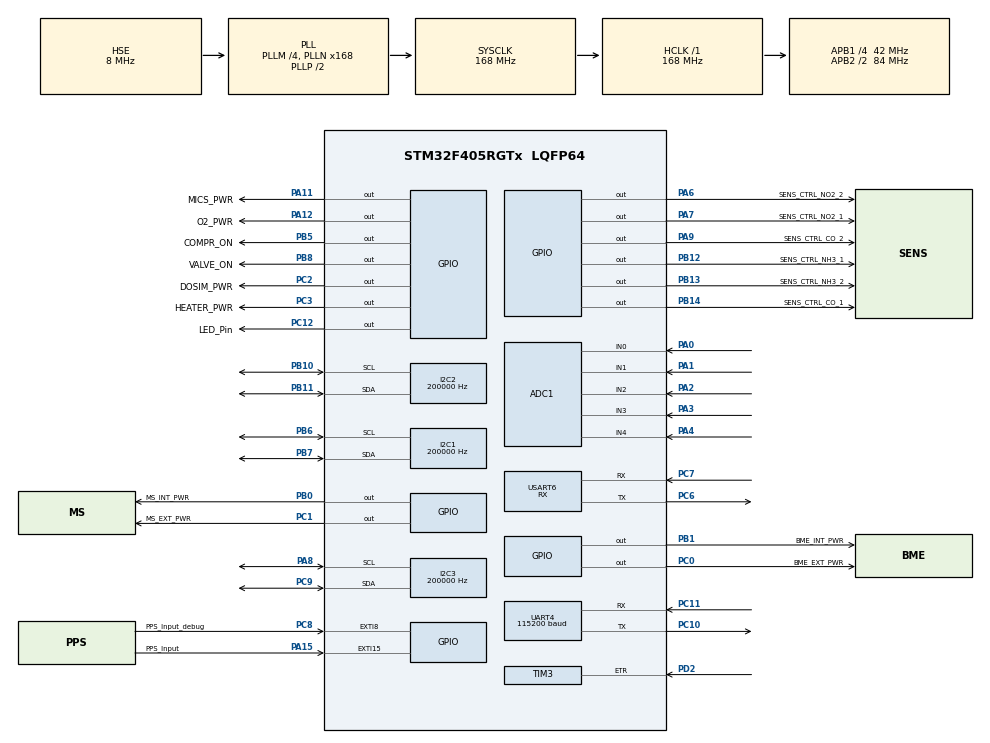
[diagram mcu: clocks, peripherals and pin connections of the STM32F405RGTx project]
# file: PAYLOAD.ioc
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PH0-OSC_IN.Signal=RCC_OSC_IN
NVIC.I2C1_EV_IRQn=true\:0\:0\:false\:false\:true\:true\:true
PC9.GPIO_PuPdOD=GPIO_NOPULL
PB10.Mode=I2C
VP_ADC1_TempSens_Input.Mode=IN-TempSens
NVIC.DMA1_Stream2_IRQn=true\:0\:0\:false\:false\:true\:false\:true
PC12.Signal=GPIO_Output
PB14.GPIO_Label=SENS_CTRL_CO_1
Dma.I2C1_TX.0.Direction=DMA_MEMORY_TO_PERIPH
Dma.I2C3_TX.2.FIFOMode=DMA_FIFOMODE_DISABLE
Dma.I2C3_RX.3.Mode=DMA_NORMAL
Dma.I2C2_RX.5.Mode=DMA_NORMAL
VP_RTC_VS_RTC_Activate.Mode=RTC_Enabled
TIM3.Slave_TriggerPolarity=TIM_TRIGGERPOLARITY_INVERTED
PA6.GPIO_Label=SENS_CTRL_NO2_2
PB13.Signal=GPIO_Output
RCC.SYSCLKSource=RCC_SYSCLKSOURCE_PLLCLK
RTC.SynchPrediv=0x7fff
PA15.GPIO_ModeDefaultEXTI=GPIO_MODE_IT_FALLING
I2C1.DutyCycle=I2C_DUTYCYCLE_2
RCC.APB2TimFreq_Value=168000000
Dma.I2C3_TX.2.Priority=DMA_PRIORITY_VERY_HIGH
PB6.Signal=I2C1_SCL
PC7.Signal=USART6_RX
PB6.Mode=I2C
PC3.Signal=GPIO_Output
VP_TIM3_VS_ControllerModeClock.Mode=Clock Mode
PC1.PinState=GPIO_PIN_SET
NVIC.EXTI15_10_IRQn=true\:0\:0\:false\:false\:true\:true\:true
Dma.I2C3_TX.2.Instance=DMA1_Stream4
PB12.GPIO_Label=SENS_CTRL_NH3_1
VP_ADC1_Vref_Input.Mode=IN-Vrefint
Dma.I2C2_TX.4.MemInc=DMA_MINC_ENABLE
PA8.GPIO_PuPdOD=GPIO_NOPULL
Dma.I2C1_TX.0.MemInc=DMA_MINC_ENABLE
PB1.GPIO_Label=BME_INT_PWR
PC9.Mode=I2C
PA8.Signal=I2C3_SCL
TIM4.Period=9999
NVIC.I2C1_ER_IRQn=true\:0\:0\:false\:false\:true\:true\:true
PB6.GPIO_PuPdOD=GPIO_NOPULL
ADC1.SamplingTime-0\#ChannelRegularConversion=ADC_SAMPLETIME_3CYCLES
Dma.I2C1_TX.0.PeriphInc=DMA_PINC_DISABLE
Mcu.Package=LQFP64
PB1.Signal=GPIO_Output
Dma.I2C2_TX.4.PeriphInc=DMA_PINC_DISABLE
PC11.Mode=Asynchronous
Dma.I2C1_TX.0.MemDataAlignment=DMA_MDATAALIGN_BYTE
RCC.APB2CLKDivider=RCC_HCLK_DIV2
RCC.APB1TimFreq_Value=84000000
Dma.I2C3_TX.2.PeriphInc=DMA_PINC_DISABLE
NVIC.DMA1_Stream6_IRQn=true\:0\:0\:false\:false\:true\:false\:true
PC0.PinState=GPIO_PIN_SET
Dma.I2C3_RX.3.Priority=DMA_PRIORITY_VERY_HIGH
ADC1.Rank-0\#ChannelRegularConversion=1
PA9.GPIO_Label=SENS_CTRL_CO_2
PB10.GPIO_PuPdOD=GPIO_NOPULL
PB11.GPIO_PuPdOD=GPIO_NOPULL
PC6.Signal=USART6_TX
PC2.Signal=GPIO_Output
PA11.GPIO_Label=MICS_PWR
PC12.GPIO_ModeDefaultOutputPP=GPIO_MODE_OUTPUT_OD
PC0.Signal=GPIO_Output
RCC.APB1CLKDivider=RCC_HCLK_DIV4
UART4.VirtualMode=Asynchronous
PA0-WKUP.Signal=ADCx_IN0
I2C2.OwnAddress=0x69
PB8.GPIO_Label=VALVE_ON
PB11.Mode=I2C
PC12.PinState=GPIO_PIN_SET
I2C1.I2C_Mode=I2C_Fast
PC6.Mode=Asynchronous
PA9.Signal=GPIO_Output
NVIC.I2C2_ER_IRQn=true\:0\:0\:false\:false\:true\:true\:true
PC7.GPIO_PuPd=GPIO_PULLUP
Dma.I2C1_RX.1.Instance=DMA1_Stream0
Dma.I2C1_RX.1.PeriphInc=DMA_PINC_DISABLE
PB10.Signal=I2C2_SCL
PB14.Signal=GPIO_Output
Dma.I2C1_RX.1.FIFOMode=DMA_FIFOMODE_DISABLE
RCC.RCC_RTC_Clock_SourceVirtual=RCC_RTCCLKSOURCE_LSE
SH.ADCx_IN4.0=ADC1_IN4,IN4
Dma.I2C3_RX.3.PeriphDataAlignment=DMA_PDATAALIGN_BYTE
Dma.I2C2_TX.4.Priority=DMA_PRIORITY_HIGH
PB7.GPIO_PuPdOD=GPIO_NOPULL
PA13.Mode=Serial_Wire
PA4.Signal=ADCx_IN4
PB5.Signal=GPIO_Output
ADC1.master=1
PC12.GPIO_Label=LED_Pin
PA11.Signal=GPIO_Output
ProjectManager.HeapSize=0x200
Dma.I2C3_RX.3.MemInc=DMA_MINC_ENABLE
Dma.I2C2_RX.5.MemDataAlignment=DMA_MDATAALIGN_BYTE
VP_TIM4_VS_ClockSourceINT.Mode=Internal
NVIC.PriorityGroup=NVIC_PRIORITYGROUP_4
Dma.I2C1_TX.0.FIFOMode=DMA_FIFOMODE_DISABLE
PC8.GPIO_ModeDefaultEXTI=GPIO_MODE_IT_FALLING
NVIC.I2C3_ER_IRQn=true\:0\:0\:false\:false\:true\:true\:true
PC3.GPIO_Label=HEATER_PWR
PA8.Mode=I2C
PD2.Signal=S_TIM3_ETR
PA11.PinState=GPIO_PIN_SET
PB0.Signal=GPIO_Output
PC1.Signal=GPIO_Output
Mcu.Family=STM32F4
Dma.I2C1_TX.0.Instance=DMA1_Stream6
RCC.CortexFreq_Value=168000000
Dma.I2C3_TX.2.MemDataAlignment=DMA_MDATAALIGN_BYTE
Dma.I2C2_TX.4.MemDataAlignment=DMA_MDATAALIGN_BYTE
Dma.I2C1_TX.0.PeriphDataAlignment=DMA_PDATAALIGN_BYTE
Dma.I2C2_RX.5.Direction=DMA_PERIPH_TO_MEMORY
SH.ADCx_IN2.0=ADC1_IN2,IN2
PC10.Signal=UART4_TX
VP_IWDG_VS_IWDG.Mode=IWDG_Activate
Dma.I2C1_RX.1.MemInc=DMA_MINC_ENABLE
PC0.GPIO_Label=BME_EXT_PWR
PB0.GPIO_Label=MS_INT_PWR
PB13.GPIO_Label=SENS_CTRL_NH3_2
PB11.Signal=I2C2_SDA
NVIC.DMA1_Stream4_IRQn=true\:0\:0\:false\:false\:true\:false\:true
USART6.Mode=MODE_RX
ProjectManager.StackSize=0x400
PC3.PinState=GPIO_PIN_RESET
Dma.I2C2_RX.5.Priority=DMA_PRIORITY_HIGH
PA15.GPIO_Label=PPS_Input
PA12.Signal=GPIO_Output
I2C1.ClockSpeed=200000
PB0.PinState=GPIO_PIN_SET
RCC.RCC_RTC_Clock_Source=RCC_RTCCLKSOURCE_LSI
UART4.BaudRate=115200
RCC.HCLKFreq_Value=168000000
SH.ADCx_IN3.0=ADC1_IN3,IN3
Dma.I2C1_RX.1.Direction=DMA_PERIPH_TO_MEMORY
Dma.I2C2_RX.5.MemInc=DMA_MINC_ENABLE
Dma.I2C1_TX.0.Priority=DMA_PRIORITY_VERY_HIGH
RCC.AHBFreq_Value=168000000
PH0-OSC_IN.Mode=HSE-External-Clock-Source
PA12.PinState=GPIO_PIN_SET
ADC1.Channel-0\#ChannelRegularConversion=ADC_CHANNEL_0
RCC.HSE_VALUE=8000000
NVIC.I2C3_EV_IRQn=true\:0\:0\:false\:false\:true\:true\:true
Dma.I2C3_RX.3.Direction=DMA_PERIPH_TO_MEMORY
PA14.Mode=Serial_Wire
RTC.AsynchPrediv=127
PB7.Signal=I2C1_SDA
Dma.I2C2_RX.5.Instance=DMA1_Stream3
SH.ADCx_IN0.0=ADC1_IN0,IN0
Dma.I2C1_RX.1.Mode=DMA_NORMAL
Dma.I2C3_TX.2.PeriphDataAlignment=DMA_PDATAALIGN_BYTE
NVIC.DMA1_Stream7_IRQn=true\:0\:0\:false\:false\:true\:false\:true
PB1.PinState=GPIO_PIN_SET
PH1-OSC_OUT.Mode=HSE-External-Clock-Source
PA6.Signal=GPIO_Output
Dma.I2C2_RX.5.FIFOMode=DMA_FIFOMODE_DISABLE
USART6.VirtualMode=VM_ASYNC
RCC.EnbaleCSS=true
IWDG.Reload=0xfff
PA15.Signal=GPXTI15
SH.ADCx_IN1.0=ADC1_IN1,IN1
PB5.GPIO_Label=COMPR_ON
Dma.I2C2_RX.5.PeriphDataAlignment=DMA_PDATAALIGN_BYTE
Dma.Request2=I2C3_TX
Dma.Request1=I2C1_RX
Dma.Request4=I2C2_TX
Dma.Request3=I2C3_RX
Dma.Request5=I2C2_RX
NVIC.DMA1_Stream0_IRQn=true\:0\:0\:false\:false\:true\:false\:true
Dma.I2C1_TX.0.Mode=DMA_NORMAL
Dma.Request0=I2C1_TX
UART4.OverSampling=UART_OVERSAMPLING_8
I2C2.I2C_Mode=I2C_Fast
PC2.GPIO_Label=DOSIM_PWR
PA3.Signal=ADCx_IN3
Dma.I2C3_TX.2.Mode=DMA_NORMAL
RCC.PLLSourceVirtual=RCC_PLLSOURCE_HSE
Dma.I2C3_RX.3.FIFOMode=DMA_FIFOMODE_DISABLE
I2C3.I2C_Mode=I2C_Fast
Dma.I2C2_TX.4.PeriphDataAlignment=DMA_PDATAALIGN_BYTE
PC11.Signal=UART4_RX
PC8.Signal=GPXTI8
I2C3.ClockSpeed=200000
PC10.Mode=Asynchronous
PA12.GPIO_Label=O2_PWR
NVIC.USART6_IRQn=true\:0\:0\:false\:false\:true\:true\:false
PC8.GPIO_Label=PPS_Input_debug
PA13.Signal=SYS_JTMS-SWDIO
Dma.I2C3_RX.3.PeriphInc=DMA_PINC_DISABLE
ProjectManager.TargetToolchain=STM32CubeIDE
Dma.I2C3_RX.3.Instance=DMA1_Stream2
Dma.I2C2_RX.5.PeriphInc=DMA_PINC_DISABLE
TIM4.Prescaler=8399
RCC.LSE_VALUE=32768
PA1.Signal=ADCx_IN1
board=custom
Dma.I2C1_RX.1.PeriphDataAlignment=DMA_PDATAALIGN_BYTE
RCC.VCOOutputFreq_Value=336000000
Dma.I2C1_RX.1.Priority=DMA_PRIORITY_VERY_HIGH
RCC.APB2Freq_Value=84000000
Dma.I2C3_TX.2.MemInc=DMA_MINC_ENABLE
TIM4.ClockDivision=TIM_CLOCKDIVISION_DIV1
Dma.I2C2_TX.4.FIFOMode=DMA_FIFOMODE_DISABLE
I2C2.ClockSpeed=200000
PC1.GPIO_Label=MS_EXT_PWR
PH1-OSC_OUT.Signal=RCC_OSC_OUT
Dma.I2C1_RX.1.MemDataAlignment=DMA_MDATAALIGN_BYTE
Dma.I2C2_TX.4.Direction=DMA_MEMORY_TO_PERIPH
Mcu.Name=STM32F405RGTx
SH.S_TIM3_ETR.0=TIM3_ETR,TriggerSource_ETR
PA2.Signal=ADCx_IN2
RCC.48MHZClocksFreq_Value=84000000
RCC.SYSCLKFreq_VALUE=168000000
PA7.GPIO_Label=SENS_CTRL_NO2_1
PC2.PinState=GPIO_PIN_SET
Dma.I2C2_TX.4.Instance=DMA1_Stream7
PB7.Mode=I2C
NVIC.EXTI9_5_IRQn=true\:0\:0\:false\:false\:true\:true\:true
PA14.Signal=SYS_JTCK-SWCLK
NVIC.I2C2_EV_IRQn=true\:0\:0\:false\:false\:true\:true\:true
RCC.HSI_VALUE=16000000
Dma.I2C3_RX.3.MemDataAlignment=DMA_MDATAALIGN_BYTE
ADC1.NbrOfConversionFlag=1
RCC.PLLM=4
RCC.PLLN=168
PA15.GPIO_PuPd=GPIO_NOPULL
Dma.I2C3_TX.2.Direction=DMA_MEMORY_TO_PERIPH
IWDG.Prescaler=IWDG_PRESCALER_128
PB8.Signal=GPIO_Output
NVIC.DMA1_Stream3_IRQn=true\:0\:0\:false\:false\:true\:false\:true
PC9.Signal=I2C3_SDA
PC7.Mode=Asynchronous
NVIC.TIM4_IRQn=true\:0\:0\:false\:false\:true\:true\:false
RCC.APB1Freq_Value=42000000
PC12.GPIO_Speed=GPIO_SPEED_FREQ_LOW
ADC1.ClockPrescaler=ADC_CLOCK_SYNC_PCLK_DIV6
PB12.Signal=GPIO_Output
PA7.Signal=GPIO_Output
Dma.I2C2_TX.4.Mode=DMA_NORMAL

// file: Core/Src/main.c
/* USER CODE BEGIN Header */
/**
  ******************************************************************************
  * @file           : main.c
  * @brief          : Main program body
  ******************************************************************************
  * @attention
  *
  * <h2><center>&copy; Copyright (c) 2021 STMicroelectronics.
  * All rights reserved.</center></h2>
  *
  * This software component is licensed by ST under BSD 3-Clause license,
  * the "License"; You may not use this file except in compliance with the
  * License. You may obtain a copy of the License at:
  *                        opensource.org/licenses/BSD-3-Clause
  *
  ******************************************************************************
  */
/* USER CODE END Header */
#include "main.h"

/* USER CODE BEGIN Includes */
#include "app_main.h"
#include "osc_config.h"
/* USER CODE END Includes */

ADC_HandleTypeDef hadc1;

I2C_HandleTypeDef hi2c1;
I2C_HandleTypeDef hi2c3;
DMA_HandleTypeDef hdma_i2c1_tx;
DMA_HandleTypeDef hdma_i2c1_rx;
DMA_HandleTypeDef hdma_i2c3_tx;
DMA_HandleTypeDef hdma_i2c3_rx;

IWDG_HandleTypeDef hiwdg;

TIM_HandleTypeDef htim3;
TIM_HandleTypeDef htim4;

UART_HandleTypeDef huart4;
UART_HandleTypeDef huart6;

void SystemClock_Config(void);
static void MX_GPIO_Init(void);
static void MX_DMA_Init(void);
static void MX_I2C1_Init(void);
static void MX_ADC1_Init(void);
static void MX_I2C2_Init(void);
static void MX_TIM3_Init(void);
static void MX_UART4_Init(void);
static void MX_I2C3_Init(void);
static void MX_IWDG_Init(void);
static void MX_RTC_Init(void);
static void MX_TIM4_Init(void);
static void MX_USART6_UART_Init(void);

int main(void)
{

  /* MCU Configuration--------------------------------------------------------*/

  /* Reset of all peripherals, Initializes the Flash interface and the Systick. */
  HAL_Init();

  /* USER CODE BEGIN Init */

    int error = HSE_SystemClock_Config();
    if (1 == error)
    {
  	  error = 0;
  	  error = HSI_SystemClock_Config();
  	  if (1 == error)
  		  HAL_NVIC_SystemReset();
    }

#ifdef CUBE_CLOCK_CONFIG
  /* USER CODE END Init */

  /* Configure the system clock */
  SystemClock_Config();

  /* USER CODE BEGIN SysInit */
#endif
  /* USER CODE END SysInit */

  /* Initialize all configured peripherals */
  MX_GPIO_Init();
  MX_DMA_Init();
  MX_I2C1_Init();
  MX_ADC1_Init();
  MX_I2C2_Init();
  MX_TIM3_Init();
  MX_UART4_Init();
  MX_I2C3_Init();
  MX_IWDG_Init();
  MX_RTC_Init();
  MX_TIM4_Init();
  MX_USART6_UART_Init();
  /* USER CODE BEGIN 2 */

  app_main();

  /* USER CODE END 2 */

  /* Infinite loop */
  while (1)
  {

  }
}

void SystemClock_Config(void)
{
  RCC_OscInitTypeDef RCC_OscInitStruct = {0};
  RCC_ClkInitTypeDef RCC_ClkInitStruct = {0};
  RCC_PeriphCLKInitTypeDef PeriphClkInitStruct = {0};

  /** Configure the main internal regulator output voltage
  */
  __HAL_RCC_PWR_CLK_ENABLE();
  __HAL_PWR_VOLTAGESCALING_CONFIG(PWR_REGULATOR_VOLTAGE_SCALE1);
  /** Initializes the RCC Oscillators according to the specified parameters
  * in the RCC_OscInitTypeDef structure.
  */
  RCC_OscInitStruct.OscillatorType = RCC_OSCILLATORTYPE_LSI|RCC_OSCILLATORTYPE_HSE;
  RCC_OscInitStruct.HSEState = RCC_HSE_BYPASS;
  RCC_OscInitStruct.LSIState = RCC_LSI_ON;
  RCC_OscInitStruct.PLL.PLLState = RCC_PLL_ON;
  RCC_OscInitStruct.PLL.PLLSource = RCC_PLLSOURCE_HSE;
  RCC_OscInitStruct.PLL.PLLM = 4;
  RCC_OscInitStruct.PLL.PLLN = 168;
  RCC_OscInitStruct.PLL.PLLP = RCC_PLLP_DIV2;
  RCC_OscInitStruct.PLL.PLLQ = 4;
  if (HAL_RCC_OscConfig(&RCC_OscInitStruct) != HAL_OK)
  {
    Error_Handler();
  }
  /** Initializes the CPU, AHB and APB buses clocks
  */
  RCC_ClkInitStruct.ClockType = RCC_CLOCKTYPE_HCLK|RCC_CLOCKTYPE_SYSCLK
                              |RCC_CLOCKTYPE_PCLK1|RCC_CLOCKTYPE_PCLK2;
  RCC_ClkInitStruct.SYSCLKSource = RCC_SYSCLKSOURCE_PLLCLK;
  RCC_ClkInitStruct.AHBCLKDivider = RCC_SYSCLK_DIV1;
  RCC_ClkInitStruct.APB1CLKDivider = RCC_HCLK_DIV4;
  RCC_ClkInitStruct.APB2CLKDivider = RCC_HCLK_DIV2;

  if (HAL_RCC_ClockConfig(&RCC_ClkInitStruct, FLASH_LATENCY_5) != HAL_OK)
  {
    Error_Handler();
  }
  PeriphClkInitStruct.PeriphClockSelection = RCC_PERIPHCLK_RTC;
  PeriphClkInitStruct.RTCClockSelection = RCC_RTCCLKSOURCE_LSI;
  if (HAL_RCCEx_PeriphCLKConfig(&PeriphClkInitStruct) != HAL_OK)
  {
    Error_Handler();
  }
  /** Enables the Clock Security System
  */
  HAL_RCC_EnableCSS();
}

static void MX_ADC1_Init(void)
{

  ADC_ChannelConfTypeDef sConfig = {0};

  /** Configure the global features of the ADC (Clock, Resolution, Data Alignment and number of conversion)
  */
  hadc1.Instance = ADC1;
  hadc1.Init.ClockPrescaler = ADC_CLOCK_SYNC_PCLK_DIV6;
  hadc1.Init.Resolution = ADC_RESOLUTION_12B;
  hadc1.Init.ScanConvMode = DISABLE;
  hadc1.Init.ContinuousConvMode = DISABLE;
  hadc1.Init.DiscontinuousConvMode = DISABLE;
  hadc1.Init.ExternalTrigConvEdge = ADC_EXTERNALTRIGCONVEDGE_NONE;
  hadc1.Init.ExternalTrigConv = ADC_SOFTWARE_START;
  hadc1.Init.DataAlign = ADC_DATAALIGN_RIGHT;
  hadc1.Init.NbrOfConversion = 1;
  hadc1.Init.DMAContinuousRequests = DISABLE;
  hadc1.Init.EOCSelection = ADC_EOC_SINGLE_CONV;
  if (HAL_ADC_Init(&hadc1) != HAL_OK)
  {
    Error_Handler();
  }
  /** Configure for the selected ADC regular channel its corresponding rank in the sequencer and its sample time.
  */
  sConfig.Channel = ADC_CHANNEL_0;
  sConfig.Rank = 1;
  sConfig.SamplingTime = ADC_SAMPLETIME_3CYCLES;
  if (HAL_ADC_ConfigChannel(&hadc1, &sConfig) != HAL_OK)
  {
    Error_Handler();
  }

}

static void MX_I2C1_Init(void)
{

  hi2c1.Instance = I2C1;
  hi2c1.Init.ClockSpeed = 200000;
  hi2c1.Init.DutyCycle = I2C_DUTYCYCLE_2;
  hi2c1.Init.OwnAddress1 = 0;
  hi2c1.Init.AddressingMode = I2C_ADDRESSINGMODE_7BIT;
  hi2c1.Init.DualAddressMode = I2C_DUALADDRESS_DISABLE;
  hi2c1.Init.OwnAddress2 = 0;
  hi2c1.Init.GeneralCallMode = I2C_GENERALCALL_DISABLE;
  hi2c1.Init.NoStretchMode = I2C_NOSTRETCH_DISABLE;
  if (HAL_I2C_Init(&hi2c1) != HAL_OK)
  {
    Error_Handler();
  }

}

static void MX_I2C2_Init(void)
{

  LL_I2C_InitTypeDef I2C_InitStruct = {0};

  LL_GPIO_InitTypeDef GPIO_InitStruct = {0};

  LL_AHB1_GRP1_EnableClock(LL_AHB1_GRP1_PERIPH_GPIOB);
  /**I2C2 GPIO Configuration
  PB10   ------> I2C2_SCL
  PB11   ------> I2C2_SDA
  */
  GPIO_InitStruct.Pin = LL_GPIO_PIN_10|LL_GPIO_PIN_11;
  GPIO_InitStruct.Mode = LL_GPIO_MODE_ALTERNATE;
  GPIO_InitStruct.Speed = LL_GPIO_SPEED_FREQ_VERY_HIGH;
  GPIO_InitStruct.OutputType = LL_GPIO_OUTPUT_OPENDRAIN;
  GPIO_InitStruct.Pull = LL_GPIO_PULL_NO;
  GPIO_InitStruct.Alternate = LL_GPIO_AF_4;
  LL_GPIO_Init(GPIOB, &GPIO_InitStruct);

  /* Peripheral clock enable */
  LL_APB1_GRP1_EnableClock(LL_APB1_GRP1_PERIPH_I2C2);

  /* I2C2 DMA Init */

  /* I2C2_TX Init */
  LL_DMA_SetChannelSelection(DMA1, LL_DMA_STREAM_7, LL_DMA_CHANNEL_7);

  LL_DMA_SetDataTransferDirection(DMA1, LL_DMA_STREAM_7, LL_DMA_DIRECTION_MEMORY_TO_PERIPH);

  LL_DMA_SetStreamPriorityLevel(DMA1, LL_DMA_STREAM_7, LL_DMA_PRIORITY_HIGH);

  LL_DMA_SetMode(DMA1, LL_DMA_STREAM_7, LL_DMA_MODE_NORMAL);

  LL_DMA_SetPeriphIncMode(DMA1, LL_DMA_STREAM_7, LL_DMA_PERIPH_NOINCREMENT);

  LL_DMA_SetMemoryIncMode(DMA1, LL_DMA_STREAM_7, LL_DMA_MEMORY_INCREMENT);

  LL_DMA_SetPeriphSize(DMA1, LL_DMA_STREAM_7, LL_DMA_PDATAALIGN_BYTE);

  LL_DMA_SetMemorySize(DMA1, LL_DMA_STREAM_7, LL_DMA_MDATAALIGN_BYTE);

  LL_DMA_DisableFifoMode(DMA1, LL_DMA_STREAM_7);

  /* I2C2_RX Init */
  LL_DMA_SetChannelSelection(DMA1, LL_DMA_STREAM_3, LL_DMA_CHANNEL_7);

  LL_DMA_SetDataTransferDirection(DMA1, LL_DMA_STREAM_3, LL_DMA_DIRECTION_PERIPH_TO_MEMORY);

  LL_DMA_SetStreamPriorityLevel(DMA1, LL_DMA_STREAM_3, LL_DMA_PRIORITY_HIGH);

  LL_DMA_SetMode(DMA1, LL_DMA_STREAM_3, LL_DMA_MODE_NORMAL);

  LL_DMA_SetPeriphIncMode(DMA1, LL_DMA_STREAM_3, LL_DMA_PERIPH_NOINCREMENT);

  LL_DMA_SetMemoryIncMode(DMA1, LL_DMA_STREAM_3, LL_DMA_MEMORY_INCREMENT);

  LL_DMA_SetPeriphSize(DMA1, LL_DMA_STREAM_3, LL_DMA_PDATAALIGN_BYTE);

  LL_DMA_SetMemorySize(DMA1, LL_DMA_STREAM_3, LL_DMA_MDATAALIGN_BYTE);

  LL_DMA_DisableFifoMode(DMA1, LL_DMA_STREAM_3);

  /* I2C2 interrupt Init */
  NVIC_SetPriority(I2C2_EV_IRQn, NVIC_EncodePriority(NVIC_GetPriorityGrouping(),0, 0));
  NVIC_EnableIRQ(I2C2_EV_IRQn);
  NVIC_SetPriority(I2C2_ER_IRQn, NVIC_EncodePriority(NVIC_GetPriorityGrouping(),0, 0));
  NVIC_EnableIRQ(I2C2_ER_IRQn);

  /** I2C Initialization
  */
  LL_I2C_DisableOwnAddress2(I2C2);
  LL_I2C_DisableGeneralCall(I2C2);
  LL_I2C_EnableClockStretching(I2C2);
  I2C_InitStruct.PeripheralMode = LL_I2C_MODE_I2C;
  I2C_InitStruct.ClockSpeed = 200000;
  I2C_InitStruct.DutyCycle = LL_I2C_DUTYCYCLE_2;
  I2C_InitStruct.OwnAddress1 = 210;
  I2C_InitStruct.TypeAcknowledge = LL_I2C_ACK;
  I2C_InitStruct.OwnAddrSize = LL_I2C_OWNADDRESS1_7BIT;
  LL_I2C_Init(I2C2, &I2C_InitStruct);
  LL_I2C_SetOwnAddress2(I2C2, 0);

}

static void MX_I2C3_Init(void)
{

  hi2c3.Instance = I2C3;
  hi2c3.Init.ClockSpeed = 200000;
  hi2c3.Init.DutyCycle = I2C_DUTYCYCLE_2;
  hi2c3.Init.OwnAddress1 = 0;
  hi2c3.Init.AddressingMode = I2C_ADDRESSINGMODE_7BIT;
  hi2c3.Init.DualAddressMode = I2C_DUALADDRESS_DISABLE;
  hi2c3.Init.OwnAddress2 = 0;
  hi2c3.Init.GeneralCallMode = I2C_GENERALCALL_DISABLE;
  hi2c3.Init.NoStretchMode = I2C_NOSTRETCH_DISABLE;
  if (HAL_I2C_Init(&hi2c3) != HAL_OK)
  {
    Error_Handler();
  }

}

static void MX_IWDG_Init(void)
{

  /* USER CODE BEGIN IWDG_Init 1 */
#ifdef DEBUG
  return;
#endif
  /* USER CODE END IWDG_Init 1 */
  hiwdg.Instance = IWDG;
  hiwdg.Init.Prescaler = IWDG_PRESCALER_128;
  hiwdg.Init.Reload = 0xfff;
  if (HAL_IWDG_Init(&hiwdg) != HAL_OK)
  {
    Error_Handler();
  }

}

static void MX_RTC_Init(void)
{

  LL_RTC_InitTypeDef RTC_InitStruct = {0};

  /* Peripheral clock enable */
  LL_RCC_EnableRTC();

  /** Initialize RTC and set the Time and Date
  */
  RTC_InitStruct.HourFormat = LL_RTC_HOURFORMAT_24HOUR;
  RTC_InitStruct.AsynchPrescaler = 127;
  RTC_InitStruct.SynchPrescaler = 0x7fff;
  LL_RTC_Init(RTC, &RTC_InitStruct);
  LL_RTC_SetAsynchPrescaler(RTC, 127);
  LL_RTC_SetSynchPrescaler(RTC, 0x7fff);

}

static void MX_TIM3_Init(void)
{

  TIM_SlaveConfigTypeDef sSlaveConfig = {0};
  TIM_MasterConfigTypeDef sMasterConfig = {0};

  htim3.Instance = TIM3;
  htim3.Init.Prescaler = 0;
  htim3.Init.CounterMode = TIM_COUNTERMODE_UP;
  htim3.Init.Period = 65535;
  htim3.Init.ClockDivision = TIM_CLOCKDIVISION_DIV1;
  htim3.Init.AutoReloadPreload = TIM_AUTORELOAD_PRELOAD_DISABLE;
  if (HAL_TIM_Base_Init(&htim3) != HAL_OK)
  {
    Error_Handler();
  }
  sSlaveConfig.SlaveMode = TIM_SLAVEMODE_EXTERNAL1;
  sSlaveConfig.InputTrigger = TIM_TS_ETRF;
  sSlaveConfig.TriggerPolarity = TIM_TRIGGERPOLARITY_INVERTED;
  sSlaveConfig.TriggerPrescaler = TIM_TRIGGERPRESCALER_DIV1;
  sSlaveConfig.TriggerFilter = 0;
  if (HAL_TIM_SlaveConfigSynchro(&htim3, &sSlaveConfig) != HAL_OK)
  {
    Error_Handler();
  }
  sMasterConfig.MasterOutputTrigger = TIM_TRGO_RESET;
  sMasterConfig.MasterSlaveMode = TIM_MASTERSLAVEMODE_DISABLE;
  if (HAL_TIMEx_MasterConfigSynchronization(&htim3, &sMasterConfig) != HAL_OK)
  {
    Error_Handler();
  }

}

static void MX_TIM4_Init(void)
{

  TIM_ClockConfigTypeDef sClockSourceConfig = {0};
  TIM_MasterConfigTypeDef sMasterConfig = {0};

  htim4.Instance = TIM4;
  htim4.Init.Prescaler = 8399;
  htim4.Init.CounterMode = TIM_COUNTERMODE_UP;
  htim4.Init.Period = 9999;
  htim4.Init.ClockDivision = TIM_CLOCKDIVISION_DIV1;
  htim4.Init.AutoReloadPreload = TIM_AUTORELOAD_PRELOAD_DISABLE;
  if (HAL_TIM_Base_Init(&htim4) != HAL_OK)
  {
    Error_Handler();
  }
  sClockSourceConfig.ClockSource = TIM_CLOCKSOURCE_INTERNAL;
  if (HAL_TIM_ConfigClockSource(&htim4, &sClockSourceConfig) != HAL_OK)
  {
    Error_Handler();
  }
  sMasterConfig.MasterOutputTrigger = TIM_TRGO_RESET;
  sMasterConfig.MasterSlaveMode = TIM_MASTERSLAVEMODE_DISABLE;
  if (HAL_TIMEx_MasterConfigSynchronization(&htim4, &sMasterConfig) != HAL_OK)
  {
    Error_Handler();
  }

}

static void MX_UART4_Init(void)
{

  huart4.Instance = UART4;
  huart4.Init.BaudRate = 115200;
  huart4.Init.WordLength = UART_WORDLENGTH_8B;
  huart4.Init.StopBits = UART_STOPBITS_1;
  huart4.Init.Parity = UART_PARITY_NONE;
  huart4.Init.Mode = UART_MODE_TX_RX;
  huart4.Init.HwFlowCtl = UART_HWCONTROL_NONE;
  huart4.Init.OverSampling = UART_OVERSAMPLING_8;
  if (HAL_UART_Init(&huart4) != HAL_OK)
  {
    Error_Handler();
  }
  /* USER CODE BEGIN UART4_Init 2 */
  // Включаем только это прерывание
  __HAL_UART_ENABLE_IT(&huart4, UART_IT_RXNE);
  /* USER CODE END UART4_Init 2 */

}

static void MX_USART6_UART_Init(void)
{

  huart6.Instance = USART6;
  huart6.Init.BaudRate = 115200;
  huart6.Init.WordLength = UART_WORDLENGTH_8B;
  huart6.Init.StopBits = UART_STOPBITS_1;
  huart6.Init.Parity = UART_PARITY_NONE;
  huart6.Init.Mode = UART_MODE_RX;
  huart6.Init.HwFlowCtl = UART_HWCONTROL_NONE;
  huart6.Init.OverSampling = UART_OVERSAMPLING_16;
  if (HAL_UART_Init(&huart6) != HAL_OK)
  {
    Error_Handler();
  }

}

static void MX_DMA_Init(void)
{

  /* DMA controller clock enable */
  __HAL_RCC_DMA1_CLK_ENABLE();

  /* DMA interrupt init */
  /* DMA1_Stream0_IRQn interrupt configuration */
  HAL_NVIC_SetPriority(DMA1_Stream0_IRQn, 0, 0);
  HAL_NVIC_EnableIRQ(DMA1_Stream0_IRQn);
  /* DMA1_Stream2_IRQn interrupt configuration */
  HAL_NVIC_SetPriority(DMA1_Stream2_IRQn, 0, 0);
  HAL_NVIC_EnableIRQ(DMA1_Stream2_IRQn);
  /* DMA1_Stream3_IRQn interrupt configuration */
  NVIC_SetPriority(DMA1_Stream3_IRQn, NVIC_EncodePriority(NVIC_GetPriorityGrouping(),0, 0));
  NVIC_EnableIRQ(DMA1_Stream3_IRQn);
  /* DMA1_Stream4_IRQn interrupt configuration */
  HAL_NVIC_SetPriority(DMA1_Stream4_IRQn, 0, 0);
  HAL_NVIC_EnableIRQ(DMA1_Stream4_IRQn);
  /* DMA1_Stream6_IRQn interrupt configuration */
  HAL_NVIC_SetPriority(DMA1_Stream6_IRQn, 0, 0);
  HAL_NVIC_EnableIRQ(DMA1_Stream6_IRQn);
  /* DMA1_Stream7_IRQn interrupt configuration */
  NVIC_SetPriority(DMA1_Stream7_IRQn, NVIC_EncodePriority(NVIC_GetPriorityGrouping(),0, 0));
  NVIC_EnableIRQ(DMA1_Stream7_IRQn);

}

static void MX_GPIO_Init(void)
{
  GPIO_InitTypeDef GPIO_InitStruct = {0};

  /* GPIO Ports Clock Enable */
  __HAL_RCC_GPIOH_CLK_ENABLE();
  __HAL_RCC_GPIOC_CLK_ENABLE();
  __HAL_RCC_GPIOA_CLK_ENABLE();
  __HAL_RCC_GPIOB_CLK_ENABLE();
  __HAL_RCC_GPIOD_CLK_ENABLE();

  /*Configure GPIO pin Output Level */
  HAL_GPIO_WritePin(GPIOC, BME_EXT_PWR_Pin|MS_EXT_PWR_Pin|DOSIM_PWR_Pin|LED_Pin_Pin, GPIO_PIN_SET);

  /*Configure GPIO pin Output Level */
  HAL_GPIO_WritePin(HEATER_PWR_GPIO_Port, HEATER_PWR_Pin, GPIO_PIN_RESET);

  /*Configure GPIO pin Output Level */
  HAL_GPIO_WritePin(GPIOA, SENS_CTRL_NO2_2_Pin|SENS_CTRL_NO2_1_Pin|SENS_CTRL_CO_2_Pin, GPIO_PIN_RESET);

  /*Configure GPIO pin Output Level */
  HAL_GPIO_WritePin(GPIOB, MS_INT_PWR_Pin|BME_INT_PWR_Pin, GPIO_PIN_SET);

  /*Configure GPIO pin Output Level */
  HAL_GPIO_WritePin(GPIOB, SENS_CTRL_NH3_1_Pin|SENS_CTRL_NH3_2_Pin|SENS_CTRL_CO_1_Pin|COMPR_ON_Pin
                          |VALVE_ON_Pin, GPIO_PIN_RESET);

  /*Configure GPIO pin Output Level */
  HAL_GPIO_WritePin(GPIOA, MICS_PWR_Pin|O2_PWR_Pin, GPIO_PIN_SET);

  /*Configure GPIO pins : BME_EXT_PWR_Pin MS_EXT_PWR_Pin DOSIM_PWR_Pin HEATER_PWR_Pin */
  GPIO_InitStruct.Pin = BME_EXT_PWR_Pin|MS_EXT_PWR_Pin|DOSIM_PWR_Pin|HEATER_PWR_Pin;
  GPIO_InitStruct.Mode = GPIO_MODE_OUTPUT_PP;
  GPIO_InitStruct.Pull = GPIO_NOPULL;
  GPIO_InitStruct.Speed = GPIO_SPEED_FREQ_LOW;
  HAL_GPIO_Init(GPIOC, &GPIO_InitStruct);

  /*Configure GPIO pins : SENS_CTRL_NO2_2_Pin SENS_CTRL_NO2_1_Pin SENS_CTRL_CO_2_Pin MICS_PWR_Pin
                           O2_PWR_Pin */
  GPIO_InitStruct.Pin = SENS_CTRL_NO2_2_Pin|SENS_CTRL_NO2_1_Pin|SENS_CTRL_CO_2_Pin|MICS_PWR_Pin
                          |O2_PWR_Pin;
  GPIO_InitStruct.Mode = GPIO_MODE_OUTPUT_PP;
  GPIO_InitStruct.Pull = GPIO_NOPULL;
  GPIO_InitStruct.Speed = GPIO_SPEED_FREQ_LOW;
  HAL_GPIO_Init(GPIOA, &GPIO_InitStruct);

  /*Configure GPIO pins : MS_INT_PWR_Pin BME_INT_PWR_Pin SENS_CTRL_NH3_1_Pin SENS_CTRL_NH3_2_Pin
                           SENS_CTRL_CO_1_Pin COMPR_ON_Pin VALVE_ON_Pin */
  GPIO_InitStruct.Pin = MS_INT_PWR_Pin|BME_INT_PWR_Pin|SENS_CTRL_NH3_1_Pin|SENS_CTRL_NH3_2_Pin
                          |SENS_CTRL_CO_1_Pin|COMPR_ON_Pin|VALVE_ON_Pin;
  GPIO_InitStruct.Mode = GPIO_MODE_OUTPUT_PP;
  GPIO_InitStruct.Pull = GPIO_NOPULL;
  GPIO_InitStruct.Speed = GPIO_SPEED_FREQ_LOW;
  HAL_GPIO_Init(GPIOB, &GPIO_InitStruct);

  /*Configure GPIO pin : PPS_Input_debug_Pin */
  GPIO_InitStruct.Pin = PPS_Input_debug_Pin;
  GPIO_InitStruct.Mode = GPIO_MODE_IT_FALLING;
  GPIO_InitStruct.Pull = GPIO_NOPULL;
  HAL_GPIO_Init(PPS_Input_debug_GPIO_Port, &GPIO_InitStruct);

  /*Configure GPIO pin : PPS_Input_Pin */
  GPIO_InitStruct.Pin = PPS_Input_Pin;
  GPIO_InitStruct.Mode = GPIO_MODE_IT_FALLING;
  GPIO_InitStruct.Pull = GPIO_NOPULL;
  HAL_GPIO_Init(PPS_Input_GPIO_Port, &GPIO_InitStruct);

  /*Configure GPIO pin : LED_Pin_Pin */
  GPIO_InitStruct.Pin = LED_Pin_Pin;
  GPIO_InitStruct.Mode = GPIO_MODE_OUTPUT_OD;
  GPIO_InitStruct.Pull = GPIO_NOPULL;
  GPIO_InitStruct.Speed = GPIO_SPEED_FREQ_LOW;
  HAL_GPIO_Init(LED_Pin_GPIO_Port, &GPIO_InitStruct);

  /* EXTI interrupt init*/
  HAL_NVIC_SetPriority(EXTI9_5_IRQn, 0, 0);
  HAL_NVIC_EnableIRQ(EXTI9_5_IRQn);

  HAL_NVIC_SetPriority(EXTI15_10_IRQn, 0, 0);
  HAL_NVIC_EnableIRQ(EXTI15_10_IRQn);

}

void Error_Handler(void)
{
  /* USER CODE BEGIN Error_Handler_Debug */
  /* User can add his own implementation to report the HAL error return state */
#ifndef DEBUG
  HAL_NVIC_SystemReset();
#else
  while(1) {}
#endif
  /* USER CODE END Error_Handler_Debug */
}

/************************ (C) COPYRIGHT STMicroelectronics *****END OF FILE****/
